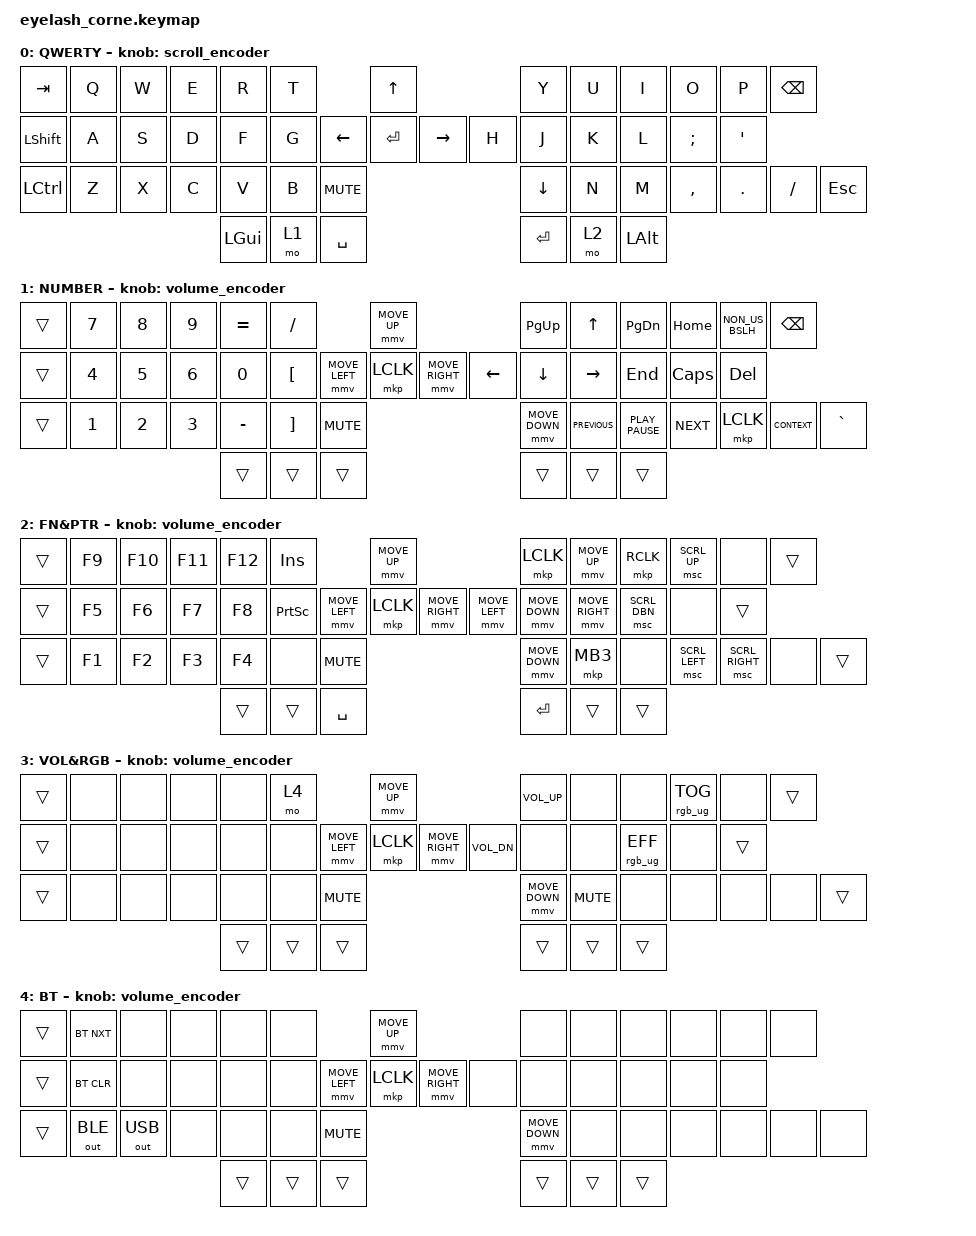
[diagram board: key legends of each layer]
#define ZMK_POINTING_DEFAULT_MOVE_VAL 1200  // 600
#define ZMK_POINTING_DEFAULT_SCRL_VAL 25   // 10

#include <input/processors.dtsi>
#include <zephyr/dt-bindings/input/input-event-codes.h>
#include <behaviors.dtsi>
#include <dt-bindings/zmk/bt.h>
#include <dt-bindings/zmk/keys.h>
#include <dt-bindings/zmk/outputs.h>
#include <dt-bindings/zmk/pointing.h>
#include <dt-bindings/zmk/rgb.h>

&mmv_input_listener { input-processors = <&zip_xy_scaler 2 1>; };

&msc_input_listener { input-processors = <&zip_scroll_scaler 2 1>; };

&msc {
    acceleration-exponent = <1>;      // 0
    time-to-max-speed-ms = <100>;       // 300
    delay-ms = <0>;                   // 0
};

&mmv {
    time-to-max-speed-ms = <500>;
    acceleration-exponent = <1>;
    trigger-period-ms = <16>;
};

&soft_off { hold-time-ms = <2000>; };

/ {
    behaviors {
        td0: td0 {
            compatible = "zmk,behavior-tap-dance";
            display-name = "Shift/Caps Lock Tap Dance";
            #binding-cells = <0>;
            bindings = <&kp LEFT_SHIFT>, <&kp CAPS>;
        };
    };

    rgb_encoder: rgb_encoder {
        compatible = "zmk,behavior-sensor-rotate";
        #sensor-binding-cells = <0>;
        bindings = <&rgb_ug RGB_BRI>, <&rgb_ug RGB_BRD>;
    };

    scroll_encoder: scroll_encoder {
        compatible = "zmk,behavior-sensor-rotate";
        #sensor-binding-cells = <0>;
        bindings = <&msc SCRL_DOWN>, <&msc SCRL_UP>;
        tap-ms = <100>;
    };

    volume_encoder: volume_encoder {
        compatible = "zmk,behavior-sensor-rotate";
        #sensor-binding-cells = <0>;
        bindings = <&kp C_VOLUME_UP>, <&kp C_VOLUME_DOWN>;
    };

    combos {
        compatible = "zmk,combos";

        softoff {
            bindings = <&soft_off>;
            key-positions = <1 15 29>;
        };
    };

    keymap {
        compatible = "zmk,keymap";

        default_layer {
            display-name = "QWERTY";
            bindings = <
&kp TAB    &kp Q  &kp W  &kp E     &kp R  &kp T                                                 &kp UP                &kp Y        &kp U  &kp I      &kp O    &kp P     &kp BSPC
&kp LSHFT  &kp A  &kp S  &kp D     &kp F  &kp G                                      &kp LEFT  &kp ENTER  &kp RIGHT  &kp H        &kp J  &kp K      &kp L    &kp SEMI  &kp SQT
&kp LCTRL  &kp Z  &kp X  &kp C     &kp V  &kp B        &kp C_MUTE                               &kp DOWN              &kp N        &kp M  &kp COMMA  &kp DOT  &kp FSLH  &kp ESC
                                   &kp LGUI  &mo 1  &kp SPACE                                                         &kp ENTER    &mo 2  &kp LALT
            >;

            sensor-bindings = <&scroll_encoder>;
        };

        lower_layer {
            display-name = "NUMBER";
            bindings = <
&trans  &kp N7  &kp N8  &kp N9  &kp EQUAL  &kp SLASH                                            &mmv MOVE_UP                                     &kp PG_UP        &kp UP_ARROW     &kp PAGE_DOWN  &kp HOME  &kp NON_US_BSLH  &kp BSPC
&trans  &kp N4  &kp N5  &kp N6  &kp N0     &kp LBKT                                 &mmv MOVE_LEFT  &mkp LCLK       &mmv MOVE_RIGHT  &kp LEFT        &kp DOWN         &kp RIGHT        &kp END   &kp CAPS         &kp DEL
&trans  &kp N1  &kp N2  &kp N3  &kp MINUS  &kp RBKT   &kp C_MUTE                                        &mmv MOVE_DOWN                                   &kp C_PREVIOUS   &kp K_PLAY_PAUSE  &kp C_NEXT     &mkp LCLK &kp K_CONTEXT    &kp GRAVE
                                &trans     &trans     &trans                                                                                             &trans           &trans           &trans
            >;

            sensor-bindings = <&volume_encoder>;
        };

        raise_layer {
            display-name = "FN&PTR";
            bindings = <
&trans  &kp F9  &kp F10  &kp F11  &kp F12  &kp INS                                              &mmv MOVE_UP                                     &mkp LCLK        &mmv MOVE_UP     &mkp RCLK      &msc SCRL_UP    &none  &trans
&trans  &kp F5  &kp F6   &kp F7   &kp F8   &kp PRINTSCREEN                          &mmv MOVE_LEFT  &mkp LCLK       &mmv MOVE_RIGHT  &mmv MOVE_LEFT  &mmv MOVE_DOWN   &mmv MOVE_RIGHT  &msc SCRL_DBN   &none  &trans
&trans  &kp F1  &kp F2   &kp F3   &kp F4   &none      &kp C_MUTE                                        &mmv MOVE_DOWN                                   &mkp MB3         &none            &msc SCRL_LEFT  &msc SCRL_RIGHT &none  &trans
                                  &trans   &trans     &kp SPACE                                                                                          &kp RET          &trans           &trans
            >;

            sensor-bindings = <&volume_encoder>;
        };

        layer_3 {
            display-name = "VOL&RGB";
            bindings = <
&trans  &none  &none  &none  &none  &mo 4                                                       &mmv MOVE_UP                                     &kp C_VOLUME_UP  &none            &none          &rgb_ug RGB_TOG  &none  &trans
&trans  &none  &none  &none  &none  &none                                           &mmv MOVE_LEFT  &mkp LCLK       &mmv MOVE_RIGHT  &kp C_VOLUME_DN &none            &none            &rgb_ug RGB_EFF  &none  &trans
&trans  &none  &none  &none  &none  &none      &kp C_MUTE                                           &mmv MOVE_DOWN                                   &kp C_MUTE       &none            &none            &none            &none  &trans
                             &trans  &trans  &trans                                                                                              &trans           &trans           &trans
            >;

            sensor-bindings = <&volume_encoder>;
        };

        layer_4 {
            display-name = "BT";
            bindings = <
&trans  &bt BT_NXT    &none         &none  &none  &none                                         &mmv MOVE_UP                                     &none            &none            &none          &none            &none  &none
&trans  &bt BT_CLR    &none         &none  &none  &none                             &mmv MOVE_LEFT  &mkp LCLK       &mmv MOVE_RIGHT  &none           &none            &none            &none            &none  &none
&trans  &out OUT_BLE  &out OUT_USB  &none  &none  &none      &kp C_MUTE                                 &mmv MOVE_DOWN                                   &none            &none            &none          &none            &none  &none
                                    &trans  &trans  &trans                                                                                       &trans           &trans           &trans
            >;

            sensor-bindings = <&volume_encoder>;
        };
    };

    conditional_layers {
        compatible = "zmk,conditional-layers";

        layer {
            if-layers = <1 2>;
            then-layer = <3>;
        };
    };
};
